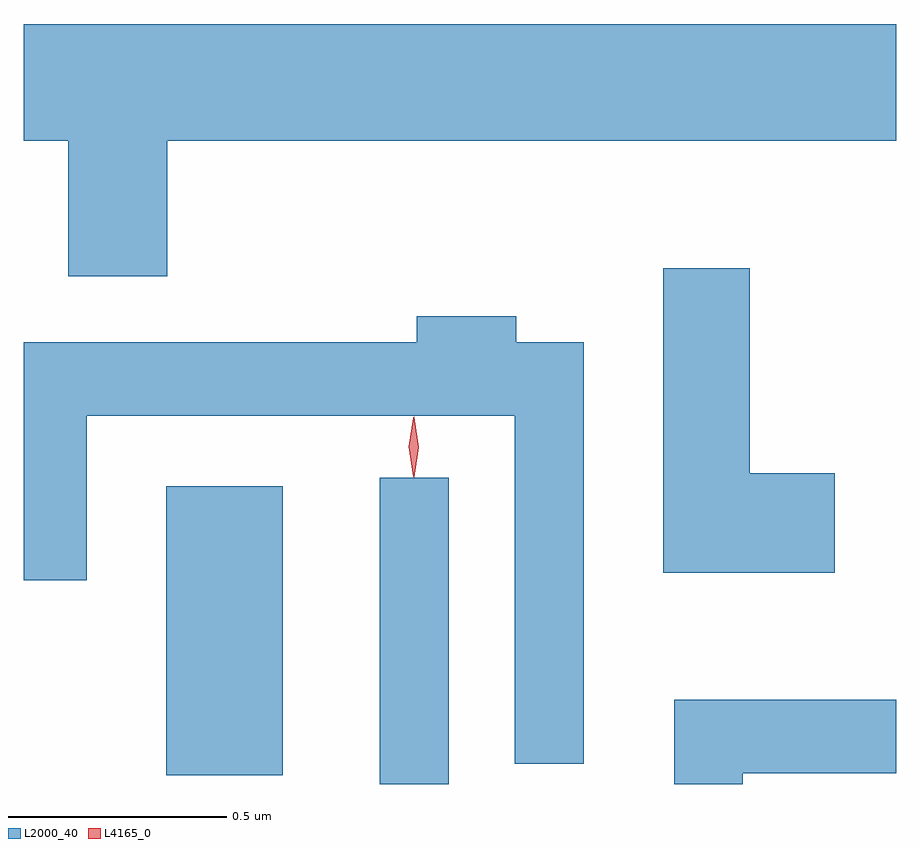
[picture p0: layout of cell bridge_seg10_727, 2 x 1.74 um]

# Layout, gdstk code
import gdstk
lib = gdstk.Library(unit=1e-6, precision=1e-09)
def R(c, l, rs):  # rectangles x0, y0, x1, y1
    for r in rs: c.add(gdstk.rectangle(r[:2], r[2:], *l))
def P(c, l, *ps):  # polygons
    for p in ps: c.add(gdstk.Polygon(p, *l))
L2000_40 = (2000, 40)
L4165_0 = (4165, 0)

bridge_seg10_727 = lib.new_cell('bridge_seg10_727')
R(bridge_seg10_727, L2000_40, [(959.826,2092.461,959.984,2093.163), (959.336,2092.481,959.604,2093.144)])
P(bridge_seg10_727, L2000_40, [(959.339,2093.936),(961.01,2093.936),(961.01,2094.204),(959.01,2094.204),(959.01,2093.936),(959.111,2093.936),(959.111,2093.626),(959.339,2093.626)],
  [(960.869,2093.174),(960.674,2093.174),(960.674,2093.644),(960.476,2093.644),(960.476,2092.946),(960.869,2092.946)],
  [(960.294,2093.474),(960.139,2093.474),(960.139,2093.534),(959.911,2093.534),(959.911,2093.474),(959.01,2093.474),(959.01,2092.928),(959.154,2092.928),(959.154,2093.306),(960.136,2093.306),(960.136,2092.508),(960.294,2092.508)],
  [(960.659,2092.486),(961.01,2092.486),(961.01,2092.654),(960.501,2092.654),(960.501,2092.461),(960.659,2092.461)])
P(bridge_seg10_727, L4165_0, [(959.904,2093.164),(959.895,2093.233),(959.904,2093.302),(959.905,2093.303),(959.905,2093.302),(959.915,2093.233),(959.905,2093.164),(959.905,2093.164)],
  [(959.903,2093.167),(959.903,2093.167),(959.893,2093.234),(959.903,2093.3),(959.903,2093.301),(959.904,2093.3),(959.913,2093.234),(959.904,2093.167)])

lib.write_gds('bridge_seg10_727.gds')
